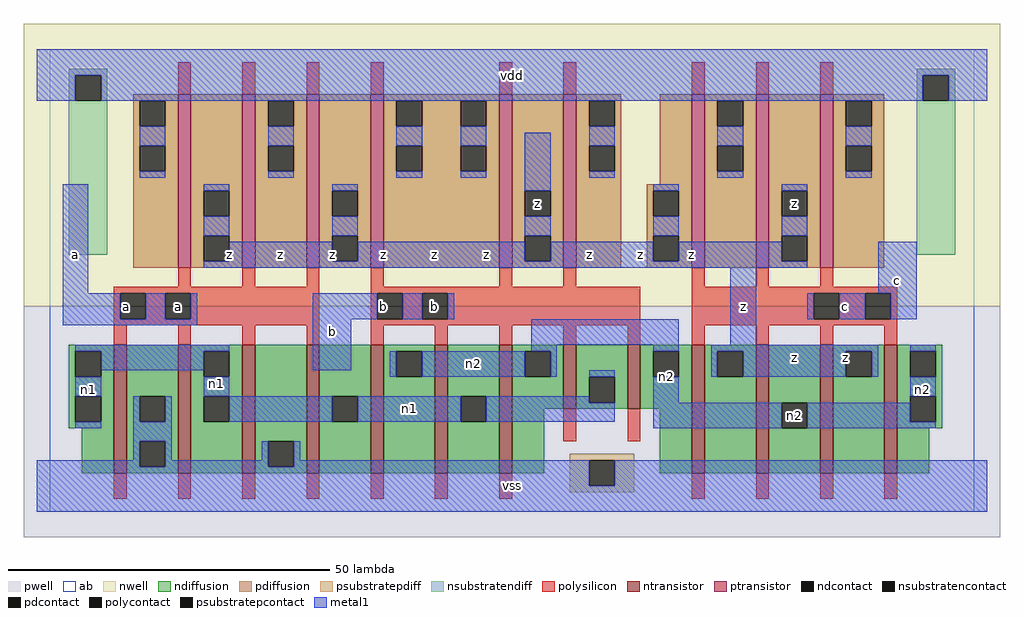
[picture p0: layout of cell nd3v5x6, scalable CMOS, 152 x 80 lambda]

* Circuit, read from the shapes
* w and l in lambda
.subckt nd3v5x6 a b c n1 n2 vdd vss z
M1 vss a n1 vss nfet w=20 l=2 m=4
M2 n2 b n1 vss nfet w=20 l=2 m=3
M3 n1 b n2 vss nfet w=10 l=2 m=2
M4 z c n2 vss nfet w=20 l=2 m=4
M5 z a vdd vdd pfet w=27 l=2 m=3
M6 vdd b z vdd pfet w=27 l=2 m=3
M7 vdd c z vdd pfet w=27 l=2 m=3
.ends

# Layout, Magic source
magic
tech scmos
<< ab >>
rect 0 0 144 72
<< pwell >>
rect -4 -4 148 32
<< nwell >>
rect -4 32 148 76
<< polysilicon >>
rect 20 65 22 70
rect 30 65 32 70
rect 40 65 42 70
rect 50 65 52 70
rect 70 65 72 70
rect 80 65 82 70
rect 100 65 102 70
rect 110 65 112 70
rect 120 65 122 70
rect 20 35 22 38
rect 30 35 32 38
rect 40 35 42 38
rect 10 34 42 35
rect 10 30 11 34
rect 15 30 18 34
rect 22 30 42 34
rect 10 29 42 30
rect 10 26 12 29
rect 20 26 22 29
rect 30 26 32 29
rect 40 26 42 29
rect 50 35 52 38
rect 70 35 72 38
rect 80 35 82 38
rect 100 35 102 38
rect 110 35 112 38
rect 120 35 122 38
rect 50 34 92 35
rect 50 30 51 34
rect 55 30 58 34
rect 62 30 92 34
rect 50 29 92 30
rect 50 26 52 29
rect 60 26 62 29
rect 70 26 72 29
rect 80 26 82 29
rect 90 26 92 29
rect 100 34 132 35
rect 100 30 119 34
rect 123 30 127 34
rect 131 30 132 34
rect 100 29 132 30
rect 100 26 102 29
rect 110 26 112 29
rect 120 26 122 29
rect 130 26 132 29
rect 80 11 82 16
rect 90 11 92 16
rect 10 2 12 6
rect 20 2 22 6
rect 30 2 32 6
rect 40 2 42 6
rect 50 2 52 6
rect 60 2 62 6
rect 70 2 72 6
rect 100 2 102 6
rect 110 2 112 6
rect 120 2 122 6
rect 130 2 132 6
<< ndiffusion >>
rect 3 25 10 26
rect 3 21 4 25
rect 8 21 10 25
rect 3 18 10 21
rect 3 14 4 18
rect 8 14 10 18
rect 3 13 10 14
rect 5 6 10 13
rect 12 18 20 26
rect 12 14 14 18
rect 18 14 20 18
rect 12 11 20 14
rect 12 7 14 11
rect 18 7 20 11
rect 12 6 20 7
rect 22 25 30 26
rect 22 21 24 25
rect 28 21 30 25
rect 22 18 30 21
rect 22 14 24 18
rect 28 14 30 18
rect 22 6 30 14
rect 32 11 40 26
rect 32 7 34 11
rect 38 7 40 11
rect 32 6 40 7
rect 42 18 50 26
rect 42 14 44 18
rect 48 14 50 18
rect 42 6 50 14
rect 52 25 60 26
rect 52 21 54 25
rect 58 21 60 25
rect 52 6 60 21
rect 62 18 70 26
rect 62 14 64 18
rect 68 14 70 18
rect 62 6 70 14
rect 72 25 80 26
rect 72 21 74 25
rect 78 21 80 25
rect 72 16 80 21
rect 82 21 90 26
rect 82 17 84 21
rect 88 17 90 21
rect 82 16 90 17
rect 92 25 100 26
rect 92 21 94 25
rect 98 21 100 25
rect 92 16 100 21
rect 72 6 77 16
rect 95 6 100 16
rect 102 25 110 26
rect 102 21 104 25
rect 108 21 110 25
rect 102 6 110 21
rect 112 17 120 26
rect 112 13 114 17
rect 118 13 120 17
rect 112 6 120 13
rect 122 25 130 26
rect 122 21 124 25
rect 128 21 130 25
rect 122 6 130 21
rect 132 25 139 26
rect 132 21 134 25
rect 138 21 139 25
rect 132 18 139 21
rect 132 14 134 18
rect 138 14 139 18
rect 132 13 139 14
rect 132 6 137 13
<< pdiffusion >>
rect 13 64 20 65
rect 13 60 14 64
rect 18 60 20 64
rect 13 57 20 60
rect 13 53 14 57
rect 18 53 20 57
rect 13 38 20 53
rect 22 50 30 65
rect 22 46 24 50
rect 28 46 30 50
rect 22 43 30 46
rect 22 39 24 43
rect 28 39 30 43
rect 22 38 30 39
rect 32 64 40 65
rect 32 60 34 64
rect 38 60 40 64
rect 32 57 40 60
rect 32 53 34 57
rect 38 53 40 57
rect 32 38 40 53
rect 42 50 50 65
rect 42 46 44 50
rect 48 46 50 50
rect 42 43 50 46
rect 42 39 44 43
rect 48 39 50 43
rect 42 38 50 39
rect 52 64 70 65
rect 52 60 54 64
rect 58 60 64 64
rect 68 60 70 64
rect 52 57 70 60
rect 52 53 54 57
rect 58 53 64 57
rect 68 53 70 57
rect 52 38 70 53
rect 72 50 80 65
rect 72 46 74 50
rect 78 46 80 50
rect 72 43 80 46
rect 72 39 74 43
rect 78 39 80 43
rect 72 38 80 39
rect 82 64 89 65
rect 82 60 84 64
rect 88 60 89 64
rect 82 57 89 60
rect 82 53 84 57
rect 88 53 89 57
rect 82 38 89 53
rect 95 51 100 65
rect 93 50 100 51
rect 93 46 94 50
rect 98 46 100 50
rect 93 43 100 46
rect 93 39 94 43
rect 98 39 100 43
rect 93 38 100 39
rect 102 64 110 65
rect 102 60 104 64
rect 108 60 110 64
rect 102 57 110 60
rect 102 53 104 57
rect 108 53 110 57
rect 102 38 110 53
rect 112 50 120 65
rect 112 46 114 50
rect 118 46 120 50
rect 112 43 120 46
rect 112 39 114 43
rect 118 39 120 43
rect 112 38 120 39
rect 122 64 130 65
rect 122 60 124 64
rect 128 60 130 64
rect 122 57 130 60
rect 122 53 124 57
rect 128 53 130 57
rect 122 38 130 53
<< metal1 >>
rect -2 68 146 72
rect -2 64 4 68
rect 8 64 136 68
rect 140 64 146 68
rect 14 57 18 60
rect 14 52 18 53
rect 34 57 38 60
rect 34 52 38 53
rect 54 57 58 60
rect 54 52 58 53
rect 64 57 68 60
rect 64 52 68 53
rect 2 34 6 51
rect 24 50 28 51
rect 24 43 28 46
rect 44 50 48 51
rect 44 43 48 46
rect 28 39 44 42
rect 74 50 78 59
rect 84 57 88 60
rect 84 52 88 53
rect 104 57 108 60
rect 104 52 108 53
rect 124 57 128 60
rect 124 52 128 53
rect 74 43 78 46
rect 48 39 74 42
rect 94 50 98 51
rect 94 43 98 46
rect 78 39 94 42
rect 114 50 118 51
rect 114 43 118 46
rect 98 39 114 42
rect 24 38 118 39
rect 2 30 11 34
rect 15 30 18 34
rect 22 30 23 34
rect 2 29 23 30
rect 41 30 51 34
rect 55 30 58 34
rect 62 30 63 34
rect 4 25 28 26
rect 8 22 24 25
rect 4 18 8 21
rect 41 22 47 30
rect 75 26 98 30
rect 106 26 110 38
rect 129 34 135 42
rect 118 30 119 34
rect 123 30 127 34
rect 131 30 135 34
rect 75 25 79 26
rect 53 21 54 25
rect 58 21 74 25
rect 78 21 79 25
rect 94 25 98 26
rect 84 21 88 22
rect 24 18 28 21
rect 4 13 8 14
rect 13 14 14 18
rect 18 14 19 18
rect 28 14 44 18
rect 48 14 64 18
rect 68 17 84 18
rect 68 14 88 17
rect 103 25 129 26
rect 103 21 104 25
rect 108 21 124 25
rect 128 21 129 25
rect 134 25 138 26
rect 94 17 98 21
rect 134 18 138 21
rect 13 11 19 14
rect 94 13 114 17
rect 118 14 134 17
rect 118 13 138 14
rect 13 8 14 11
rect -2 7 14 8
rect 18 8 19 11
rect 33 8 34 11
rect 18 7 34 8
rect 38 8 39 11
rect 38 7 84 8
rect -2 4 84 7
rect 88 4 146 8
rect -2 0 146 4
<< ntransistor >>
rect 10 6 12 26
rect 20 6 22 26
rect 30 6 32 26
rect 40 6 42 26
rect 50 6 52 26
rect 60 6 62 26
rect 70 6 72 26
rect 80 16 82 26
rect 90 16 92 26
rect 100 6 102 26
rect 110 6 112 26
rect 120 6 122 26
rect 130 6 132 26
<< ptransistor >>
rect 20 38 22 65
rect 30 38 32 65
rect 40 38 42 65
rect 50 38 52 65
rect 70 38 72 65
rect 80 38 82 65
rect 100 38 102 65
rect 110 38 112 65
rect 120 38 122 65
<< polycontact >>
rect 11 30 15 34
rect 18 30 22 34
rect 51 30 55 34
rect 58 30 62 34
rect 119 30 123 34
rect 127 30 131 34
<< ndcontact >>
rect 4 21 8 25
rect 4 14 8 18
rect 14 14 18 18
rect 14 7 18 11
rect 24 21 28 25
rect 24 14 28 18
rect 34 7 38 11
rect 44 14 48 18
rect 54 21 58 25
rect 64 14 68 18
rect 74 21 78 25
rect 84 17 88 21
rect 94 21 98 25
rect 104 21 108 25
rect 114 13 118 17
rect 124 21 128 25
rect 134 21 138 25
rect 134 14 138 18
<< pdcontact >>
rect 14 60 18 64
rect 14 53 18 57
rect 24 46 28 50
rect 24 39 28 43
rect 34 60 38 64
rect 34 53 38 57
rect 44 46 48 50
rect 44 39 48 43
rect 54 60 58 64
rect 64 60 68 64
rect 54 53 58 57
rect 64 53 68 57
rect 74 46 78 50
rect 74 39 78 43
rect 84 60 88 64
rect 84 53 88 57
rect 94 46 98 50
rect 94 39 98 43
rect 104 60 108 64
rect 104 53 108 57
rect 114 46 118 50
rect 114 39 118 43
rect 124 60 128 64
rect 124 53 128 57
<< psubstratepcontact >>
rect 84 4 88 8
<< nsubstratencontact >>
rect 4 64 8 68
rect 136 64 140 68
<< psubstratepdiff >>
rect 81 8 91 9
rect 81 4 84 8
rect 88 4 91 8
rect 81 3 91 4
<< nsubstratendiff >>
rect 3 68 9 69
rect 3 64 4 68
rect 8 64 9 68
rect 135 68 141 69
rect 3 40 9 64
rect 135 64 136 68
rect 140 64 141 68
rect 135 40 141 64
<< labels >>
rlabel metal1 6 19 6 19 6 n1
rlabel polycontact 12 32 12 32 6 a
rlabel polycontact 20 32 20 32 6 a
rlabel metal1 4 40 4 40 6 a
rlabel metal1 26 20 26 20 6 n1
rlabel polycontact 52 32 52 32 6 b
rlabel metal1 44 28 44 28 6 b
rlabel metal1 28 40 28 40 6 z
rlabel metal1 44 40 44 40 6 z
rlabel metal1 52 40 52 40 6 z
rlabel metal1 36 40 36 40 6 z
rlabel metal1 72 4 72 4 6 vss
rlabel metal1 66 23 66 23 6 n2
rlabel polycontact 60 32 60 32 6 b
rlabel metal1 60 40 60 40 6 z
rlabel metal1 84 40 84 40 6 z
rlabel metal1 68 40 68 40 6 z
rlabel pdcontact 76 48 76 48 6 z
rlabel metal1 72 68 72 68 6 vdd
rlabel metal1 56 16 56 16 6 n1
rlabel metal1 108 32 108 32 6 z
rlabel metal1 96 21 96 21 6 n2
rlabel metal1 92 40 92 40 6 z
rlabel metal1 100 40 100 40 6 z
rlabel metal1 136 19 136 19 6 n2
rlabel ndcontact 116 15 116 15 6 n2
rlabel metal1 116 24 116 24 6 z
rlabel metal1 124 24 124 24 6 z
rlabel metal1 124 32 124 32 6 c
rlabel metal1 132 36 132 36 6 c
rlabel pdcontact 116 48 116 48 6 z
<< end >>
